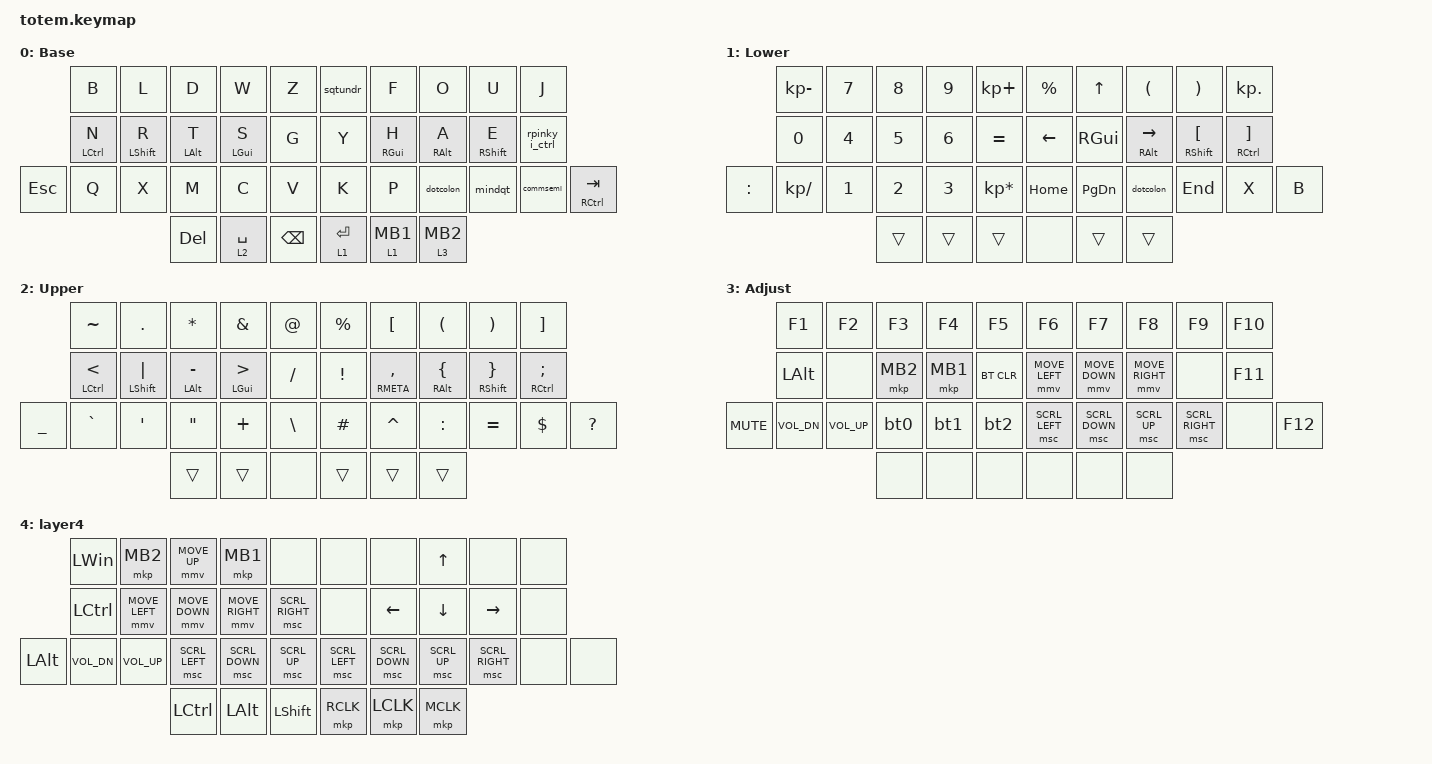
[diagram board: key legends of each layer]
#define ZMK_POINTING_DEFAULT_MOVE_VAL 2500
#define ZMK_POINTING_DEFAULT_SCRL_VAL 20

#include <behaviors.dtsi>
#include <dt-bindings/zmk/bt.h>
#include <dt-bindings/zmk/keys.h>
#include <dt-bindings/zmk/outputs.h>
#include <dt-bindings/zmk/pointing.h>

/ {
    behaviors {
        hml: home_row_mod_left {
            compatible = "zmk,behavior-hold-tap";
            display-name = "Home Row Mod L";
            #binding-cells = <2>;
            flavor = "balanced";
            require-prior-idle-ms = <125>;
            tapping-term-ms = <280>;
            quick-tap-ms = <175>;
            bindings = <&kp>, <&kp>;

            hold-trigger-key-positions = <5 6 7 8 9 15 16 17 18 19 26 27 28 29 30 31 35 36 37>;
            hold-trigger-on-release;
        };

        hmr: home_row_mod_right {
            compatible = "zmk,behavior-hold-tap";
            display-name = "Home Row Mod R";
            #binding-cells = <2>;
            flavor = "balanced";
            require-prior-idle-ms = <125>;
            tapping-term-ms = <280>;
            quick-tap-ms = <175>;
            bindings = <&kp>, <&kp>;

            hold-trigger-key-positions = <0 1 2 3 4 10 11 12 13 14 20 21 22 23 24 25 32 33 34>;
            hold-trigger-on-release;
        };

        ltt: layer_tap_thumb {
            compatible = "zmk,behavior-hold-tap";
            display-name = "Layer-Tap";
            #binding-cells = <2>;
            flavor = "balanced";
            tapping-term-ms = <280>;
            quick-tap-ms = <175>;
            bindings = <&mo>, <&kp>;
        };

        bt0: bt_profile_0 {
            compatible = "zmk,behavior-tap-dance";
            display-name = "Bluetooth Profile 0";
            #binding-cells = <0>;
            bindings = <&macro_bt0>, <&bt BT_CLR>;
        };

        bt1: bt_profile_1 {
            compatible = "zmk,behavior-tap-dance";
            display-name = "Bluetooth Profile 1";
            #binding-cells = <0>;
            bindings = <&macro_bt1>, <&bt BT_CLR>;
        };

        bt2: bt_profile_2 {
            compatible = "zmk,behavior-tap-dance";
            display-name = "Bluetooth Profile 2";
            #binding-cells = <0>;
            bindings = <&macro_bt2>, <&bt BT_CLR>;
        };

        sqtundr: shift_squote_underscore {
            compatible = "zmk,behavior-mod-morph";
            #binding-cells = <0>;
            bindings = <&kp SQT>, <&kp UNDER>;

            mods = <(MOD_LSFT)>;
        };

        dotcolon: shift_dot_colon {
            compatible = "zmk,behavior-mod-morph";
            #binding-cells = <0>;
            bindings = <&kp DOT>, <&kp COLON>;

            mods = <(MOD_LSFT)>;
        };

        mindqt: shift_minus_dquote {
            compatible = "zmk,behavior-mod-morph";
            #binding-cells = <0>;
            bindings = <&kp MINUS>, <&kp DQT>;

            mods = <(MOD_LSFT)>;
        };

        commsemi: shift_comma_semicolon {
            compatible = "zmk,behavior-mod-morph";
            #binding-cells = <0>;
            bindings = <&kp COMMA>, <&kp SEMI>;

            mods = <(MOD_LSFT)>;
        };

        lmt: layer_mouse_thumb {
            compatible = "zmk,behavior-hold-tap";
            display-name = "Layer-Tap";
            #binding-cells = <2>;
            flavor = "balanced";
            tapping-term-ms = <280>;
            quick-tap-ms = <175>;
            bindings = <&mo>, <&mkp>;

            label = "LAYER_MOUSE_THUMB";
        };

        rpinky_i_ctrl: rpinky_i_ctrl {
            compatible = "zmk,behavior-mod-morph";
            label = "RPINKY_I_CTRL";
            bindings = <&ltt 4 I>, <&kp LEFT_CONTROL>;

            #binding-cells = <0>;
            keep-mods = <(MOD_LCTL|MOD_LALT|MOD_LGUI|MOD_RCTL|MOD_RSFT|MOD_RALT|MOD_RGUI)>;
            mods = <(MOD_LCTL|MOD_LALT|MOD_LGUI|MOD_RCTL|MOD_RGUI|MOD_RSFT|MOD_RALT)>;
        };
    };

    macros {
        macro_bt0: bt_profile_0_macro {
            compatible = "zmk,behavior-macro";
            #binding-cells = <0>;
            bindings = <&out OUT_BLE &bt BT_SEL 0>;
        };

        macro_bt1: bt_profile_1_macro {
            compatible = "zmk,behavior-macro";
            #binding-cells = <0>;
            bindings = <&out OUT_BLE &bt BT_SEL 1>;
        };

        macro_bt2: bt_profile_2_macro {
            compatible = "zmk,behavior-macro";
            #binding-cells = <0>;
            bindings = <&out OUT_BLE &bt BT_SEL 2>;
        };

        win_Shift: win_Shift {
            compatible = "zmk,behavior-macro";
            #binding-cells = <0>;
            bindings = <&sk LEFT_GUI &sk LEFT_SHIFT>;
            label = "WIN_SHIFT";
        };

        ime_toggle_hybrid: ime_toggle {
            compatible = "zmk,behavior-macro";
            #binding-cells = <0>;
            bindings =
                <&macro_press>,
                <&kp LEFT_ALT>,
                <&macro_tap>,
                <&kp GRAVE>,
                <&macro_release>,
                <&kp LEFT_ALT>,
                <&macro_tap>,
                <&kp C_AC_NEXT_KEYBOARD_LAYOUT_SELECT>;

            label = "IME_TOGGLE";
        };

        alt_funcfour: alt_funcfour {
            compatible = "zmk,behavior-macro";
            #binding-cells = <0>;
            bindings = <&kp LA(F4)>;
            label = "ALT_FUNCFOUR";
        };

        ctrl_c: ctrl_c {
            compatible = "zmk,behavior-macro";
            #binding-cells = <0>;
            bindings = <&kp LC(C)>;
            label = "CTRL_C";
        };

        ctrl_v: ctrl_v {
            compatible = "zmk,behavior-macro";
            #binding-cells = <0>;
            bindings = <&kp LC(V)>;
            label = "CTRL_V";
        };

        ctrl_x: ctrl_x {
            compatible = "zmk,behavior-macro";
            #binding-cells = <0>;
            bindings = <&kp LC(X)>;
            label = "CTRL_X";
        };

        win_ctrl: win_ctrl {
            compatible = "zmk,behavior-macro";
            #binding-cells = <0>;
            bindings = <&sk LEFT_GUI &sk LCTRL>;
            label = "WIN_CTRL";
        };
    };

    combos {
        compatible = "zmk,combos";

        combo_tab {
            timeout-ms = <30>;
            require-prior-idle-ms = <175>;
            key-positions = <1 2>; // LD
            layers = <0>;
            bindings = <&kp TAB>;
        };

        combo_spc_lower {
            timeout-ms = <30>;
            key-positions = <1 2>;
            layers = <1>;
            bindings = <&kp SPACE>;
        };

        combo_del {
            timeout-ms = <30>;
            key-positions = <22 23>; // XM
            layers = <0>;
            bindings = <&kp DEL>;
        };

        combo_bspc_upper {
            timeout-ms = <30>;
            key-positions = <7 8>; // OU
            layers = <2>;
            bindings = <&kp BSPC>;
        };

        combo_ime_toggle {
            timeout-ms = <30>;
            key-positions = <13 12>; // SH
            layers = <0>;
            bindings = <&ime_toggle_hybrid>;
        };

        combo_caps_word {
            bindings = <&caps_word>;
            key-positions = <14 13 15>;
        };

        close_window {
            bindings = <&alt_funcfour>;
            key-positions = <11 12 13>;
            slow-release;
            timeout-ms = <30>;
            layers = <4>;
        };

        application {
            bindings = <&kp K_APP>;
            key-positions = <13 11>;
            timeout-ms = <60>;
            layers = <0>;
        };

        right_alt {
            bindings = <&kp RIGHT_ALT>;
            key-positions = <16 17>;
        };

        ctrl+grave {
            bindings = <&kp LC(GRAVE)>;
            key-positions = <24 23>;
        };
    };

    conditional_layers { compatible = "zmk,conditional-layers"; };

    keymap {
        compatible = "zmk,keymap";

        /* Base (default), Graphite alphas
         */

        base_layer {
            display-name = "Base";
            bindings = <
         &kp B         &kp L              &kp D            &kp W            &kp Z            &sqtundr      &kp F             &kp O             &kp U               &kp J
         &hml LCTRL N  &hml LEFT_SHIFT R  &hml LEFT_ALT T  &hml LEFT_GUI S  &kp G            &kp Y         &hmr RIGHT_GUI H  &hmr RIGHT_ALT A  &hmr RIGHT_SHIFT E  &rpinky_i_ctrl
&kp ESC  &kp Q         &kp X              &kp M            &kp C            &kp V            &kp K         &kp P             &dotcolon         &mindqt             &commsemi       &hmr RCTRL TAB
                                          &kp DELETE       &ltt 2 SPACE     &kp BACKSPACE    &ltt 1 ENTER  &lmt 1 MB1        &lmt 3 MB2
            >;
        };

        /* Numbers, Navigation
         */

        lower_layer {
            display-name = "Lower";
            bindings = <
           &kp KP_MINUS  &kp N7  &kp N8  &kp N9  &kp KP_PLUS        &kp PRCNT  &kp UP_ARROW   &kp LPAR              &kp RPAR               &kp KP_DOT
           &kp N0        &kp N4  &kp N5  &kp N6  &kp EQUAL          &kp LEFT   &kp RIGHT_GUI  &hmr RIGHT_ALT RIGHT  &hmr RIGHT_SHIFT LBKT  &hmr RCTRL RBKT
&kp COLON  &kp KP_SLASH  &kp N1  &kp N2  &kp N3  &kp KP_ASTERISK    &kp HOME   &kp PG_DN      &dotcolon             &kp END                &kp X            &kp B
                                 &trans  &trans  &trans             &none      &trans         &trans
            >;
        };

        /* Symbols
         */

        upper_layer {
            display-name = "Upper";
            bindings = <
           &kp TILDE      &kp DOT          &kp ASTRK            &kp AMPS          &kp AT      &kp PRCNT  &kp LBKT          &kp LPAR        &kp RPAR               &kp RBKT
           &hml LCTRL LT  &hml LSHFT PIPE  &hml LEFT_ALT MINUS  &hmr LEFT_GUI GT  &kp FSLH    &kp EXCL   &hmr RMETA COMMA  &hml RALT LBRC  &hmr RIGHT_SHIFT RBRC  &hmr RCTRL SEMI
&kp UNDER  &kp GRAVE      &kp SQT          &kp DQT              &kp PLUS          &kp BSLH    &kp HASH   &kp CARET         &kp COLON       &kp EQUAL              &kp DLLR         &kp QMARK
                                           &trans               &trans            &none       &trans     &trans            &trans
            >;
        };

        /* Media, Mouse, Keyboard control
         */

        adjust_layer {
            display-name = "Adjust";
            bindings = <
            &kp F1        &kp F2        &kp F3    &kp F4    &kp F5        &kp F6          &kp F7          &kp F8           &kp F9           &kp F10
            &kp LEFT_ALT  &none         &mkp MB2  &mkp MB1  &bt BT_CLR    &mmv MOVE_LEFT  &mmv MOVE_DOWN  &mmv MOVE_RIGHT  &none            &kp F11
&kp C_MUTE  &kp C_VOL_DN  &kp C_VOL_UP  &bt0      &bt1      &bt2          &msc SCRL_LEFT  &msc SCRL_DOWN  &msc SCRL_UP     &msc SCRL_RIGHT  &none    &kp F12
                                        &none     &none     &none         &none           &none           &none
            >;
        };

        layer_4 {
            display-name = "layer4";
            bindings = <
              &kp LEFT_WIN      &mkp MB2        &mmv MOVE_UP      &mkp MB1         &none              &none           &none           &kp UP          &none            &none
              &kp LEFT_CONTROL  &mmv MOVE_LEFT  &mmv MOVE_DOWN    &mmv MOVE_RIGHT  &msc SCRL_RIGHT    &none           &kp LEFT_ARROW  &kp DOWN_ARROW  &kp RIGHT        &none
&kp LEFT_ALT  &kp C_VOL_DN      &kp C_VOL_UP    &msc SCRL_LEFT    &msc SCRL_DOWN   &msc SCRL_UP       &msc SCRL_LEFT  &msc SCRL_DOWN  &msc SCRL_UP    &msc SCRL_RIGHT  &none  &none
                                                &kp LEFT_CONTROL  &kp LEFT_ALT     &kp LEFT_SHIFT     &mkp RCLK       &mkp LCLK       &mkp MCLK
            >;
        };
    };
};
